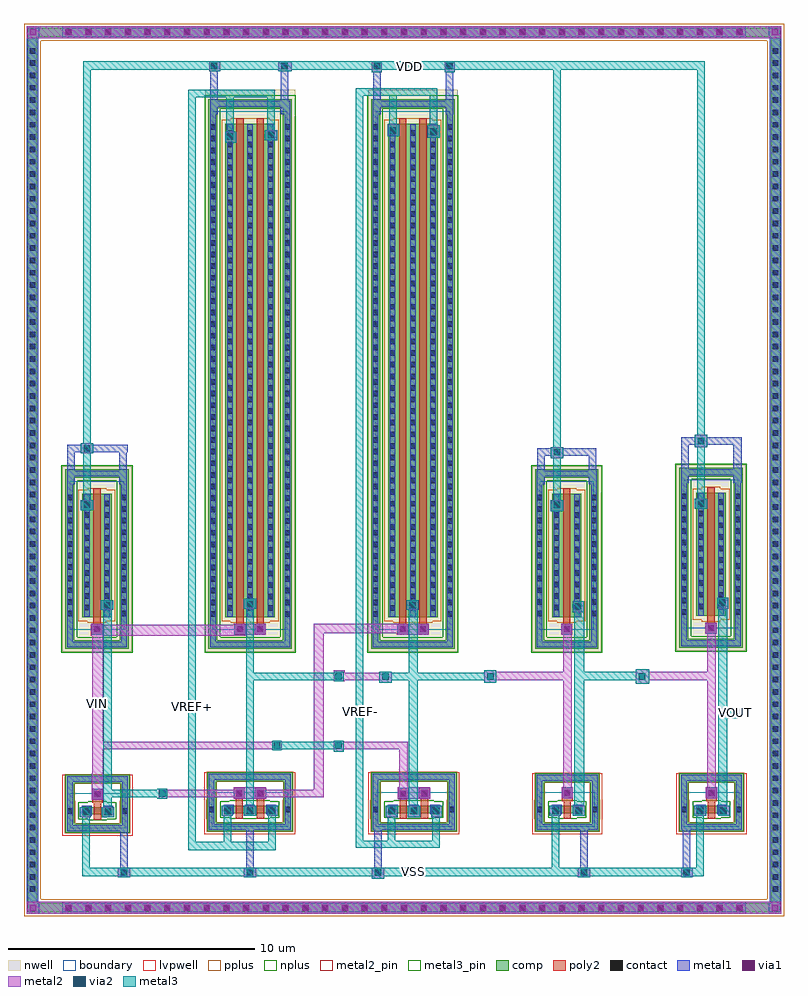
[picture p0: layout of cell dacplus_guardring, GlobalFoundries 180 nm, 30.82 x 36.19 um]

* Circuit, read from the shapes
.subckt dacplus_guardring VDD VIN VOUT VREF+ VREF- VSS
XM1 n1 VIN VSS VSS nfet_03v3 w=0.3u l=0.3u
XM2 n2 n1 VREF+ VSS nfet_03v3 w=0.3u l=0.3u m=2
XM3 n2 VIN VREF- VSS nfet_03v3 w=0.3u l=0.3u m=2
XM4 n3 n2 VSS VSS nfet_03v3 w=0.3u l=0.3u
XM5 VOUT n3 VSS VSS nfet_03v3 w=0.3u l=0.3u
XM6 n1 VIN VDD VDD pfet_03v3 w=5u l=0.3u
XM7 n2 VIN VREF+ VDD pfet_03v3 w=20u l=0.3u m=2
XM8 n2 n1 VREF- VDD pfet_03v3 w=20u l=0.3u m=2
XM9 n3 n2 VDD VDD pfet_03v3 w=5u l=0.3u
XM10 VOUT n3 VDD VDD pfet_03v3 w=5u l=0.3u
.ends

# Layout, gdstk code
import gdstk
lib = gdstk.Library(unit=1e-6, precision=5e-09)
def R(c, l, rs):  # rectangles x0, y0, x1, y1
    for r in rs: c.add(gdstk.rectangle(r[:2], r[2:], *l))
def A(c, l, x, y, w, h, nx, ny, dx, dy):  # array of equal rectangles
    R(c, l, [(x+i*dx, y+j*dy, x+i*dx+w, y+j*dy+h) for i in range(nx) for j in range(ny)])
def P(c, l, *ps):  # polygons
    for p in ps: c.add(gdstk.Polygon(p, *l))
boundary = (0, 0)
nwell = (21, 0)
comp = (22, 0)
poly2 = (30, 0)
pplus = (31, 0)
nplus = (32, 0)
contact = (33, 0)
metal1 = (34, 0)
via1 = (35, 0)
metal2 = (36, 0)
metal2_pin = (36, 10)
via2 = (38, 0)
metal3 = (42, 0)
metal3_pin = (42, 10)
lvpwell = (204, 0)

dacplus_guardring = lib.new_cell('dacplus_guardring')
R(dacplus_guardring, boundary, [(10.35,24.5,12.59,25.91), (16.1,24.55,19.2,25.96), (22.75,24.55,25.85,25.96), (29.4,24.55,31.64,25.96), (35.25,24.55,37.49,25.96), (10.35,32.55,12.55,38.57), (16.15,32.55,19.17,53.57), (22.75,32.55,25.77,53.57), (29.4,32.55,31.6,38.57), (35.25,32.6,37.45,38.62)])
R(dacplus_guardring, nwell, [(10.05,31.65,12.85,38.125), (15.85,31.65,19.47,53.37), (22.45,31.65,26.07,53.37), (29.1,31.65,31.9,38.125), (34.95,31.7,37.75,38.175), (10.045,38.125,12.86,39.165), (29.095,38.125,31.91,39.165), (34.945,38.175,37.76,39.215), (10.05,39.165,12.85,39.185), (29.1,39.165,31.9,39.185), (34.95,39.215,37.75,39.235), (15.85,53.37,19.48,54.44), (22.45,53.37,26.08,54.44)])
A(dacplus_guardring, comp, 10.12, 21.09, 0.36, 0.36, 35, 2, 0.8, 35.51)
A(dacplus_guardring, comp, 8.65, 21.845, 0.36, 0.36, 1, 69, 0, 0.5)
A(dacplus_guardring, comp, 38.79, 21.845, 0.36, 0.36, 1, 69, 0, 0.5)
A(dacplus_guardring, comp, 16.61, 25.075, 0.36, 0.03, 3, 2, 0.86, 0.33)
A(dacplus_guardring, comp, 23.26, 25.075, 0.36, 0.03, 3, 2, 0.86, 0.33)
R(dacplus_guardring, comp, [(10.12,21.09,37.68,21.45), (8.65,21.845,9.01,56.205), (38.79,21.845,39.15,56.205), (10.17,24.32,12.77,24.68), (15.92,24.37,19.38,24.73), (22.57,24.37,26.03,24.73), (29.22,24.37,31.82,24.73), (35.07,24.37,37.67,24.73), (10.17,24.68,10.53,26.315), (12.41,24.68,12.77,26.315), (15.92,24.73,16.28,26.405), (19.02,24.73,19.38,26.405), (22.57,24.73,22.93,26.405), (25.67,24.73,26.03,26.405), (29.22,24.73,29.58,26.365), (31.46,24.73,31.82,26.365), (35.07,24.73,35.43,26.365), (37.31,24.73,37.67,26.365), (10.86,25.025,11.22,25.055), (11.72,25.025,12.08,25.055), (10.86,25.055,12.08,25.355), (29.91,25.075,30.27,25.105), (30.77,25.075,31.13,25.105), (35.76,25.075,36.12,25.105), (36.62,25.075,36.98,25.105), (16.61,25.105,18.69,25.405), (23.26,25.105,25.34,25.405), (29.91,25.105,31.13,25.405), (35.76,25.105,36.98,25.405), (10.86,25.355,11.22,25.385), (11.72,25.355,12.08,25.385), (29.91,25.405,30.27,25.435), (30.77,25.405,31.13,25.435), (35.76,25.405,36.12,25.435), (36.62,25.405,36.98,25.435), (10.17,26.315,12.77,26.675), (29.22,26.365,31.82,26.725), (35.07,26.365,37.67,26.725), (15.92,26.405,19.38,26.765), (22.57,26.405,26.03,26.765), (10.17,31.77,12.73,32.13), (15.97,31.77,19.35,32.13), (22.57,31.77,25.95,32.13), (29.22,31.77,31.78,32.13), (35.07,31.82,37.63,32.18), (10.17,32.13,10.53,38.705), (12.37,32.13,12.73,38.705), (15.97,32.13,16.33,53.7), (18.99,32.13,19.35,53.7), (22.57,32.13,22.93,53.7), (25.59,32.13,25.95,53.7), (29.22,32.13,29.58,38.705), (31.42,32.13,31.78,38.705), (35.07,32.18,35.43,38.755), (37.27,32.18,37.63,38.755), (10.86,33.06,12.04,38.06), (16.66,33.06,18.66,53.06), (23.26,33.06,25.26,53.06), (29.91,33.06,31.09,38.06), (35.76,33.11,36.94,38.11), (10.17,38.705,12.73,39.065), (29.22,38.705,31.78,39.065), (35.07,38.755,37.63,39.115), (15.97,53.7,19.35,54.06), (22.57,53.7,25.95,54.06), (10.12,56.6,37.68,56.96)])
P(dacplus_guardring, comp, [(8.65,21.09),(8.65,21.45),(9.01,21.45),(38.79,21.45),(38.79,56.6),(9.01,56.6),(9.01,21.45),(8.65,21.45),(8.65,56.96),(39.15,56.96),(39.15,21.09)])
R(dacplus_guardring, poly2, [(11.32,24.835,11.62,25.54), (17.07,24.885,17.37,25.685), (17.93,24.885,18.23,25.685), (23.72,24.885,24.02,25.685), (24.58,24.885,24.88,25.685), (30.37,24.885,30.67,25.59), (36.22,24.885,36.52,25.59), (11.255,25.54,11.685,26.095), (30.305,25.59,30.735,26.145), (36.155,25.59,36.585,26.145), (16.995,25.685,17.445,26.135), (17.855,25.685,18.305,26.135), (23.645,25.685,24.095,26.135), (24.505,25.685,24.955,26.135), (11.225,32.34,11.675,32.79), (30.275,32.34,30.725,32.79), (17.025,32.345,17.475,32.795), (17.84,32.345,18.29,32.795), (23.625,32.345,24.075,32.795), (24.44,32.345,24.89,32.795), (36.125,32.39,36.575,32.84), (11.3,32.79,11.6,38.28), (30.35,32.79,30.65,38.28), (17.1,32.795,17.4,53.28), (17.92,32.795,18.22,53.28), (23.7,32.795,24,53.28), (24.52,32.795,24.82,53.28), (36.2,32.84,36.5,38.33)])
R(dacplus_guardring, pplus, [(10.15,24.3,12.79,24.7), (15.9,24.35,19.4,24.75), (22.55,24.35,26.05,24.75), (29.2,24.35,31.84,24.75), (35.05,24.35,37.69,24.75), (10.15,24.7,10.56,24.805), (12.38,24.7,12.79,24.805), (15.9,24.75,16.31,24.855), (18.99,24.75,19.4,24.855), (22.55,24.75,22.96,24.855), (25.64,24.75,26.05,24.855), (29.2,24.75,29.61,24.855), (31.43,24.75,31.84,24.855), (35.05,24.75,35.46,24.855), (37.28,24.75,37.69,24.855), (10.14,24.805,10.56,25.605), (12.38,24.805,12.8,25.605), (15.89,24.855,16.31,25.655), (18.99,24.855,19.41,25.655), (22.54,24.855,22.96,25.655), (25.64,24.855,26.06,25.655), (29.19,24.855,29.61,25.655), (31.43,24.855,31.85,25.655), (35.04,24.855,35.46,25.655), (37.28,24.855,37.7,25.655), (10.15,25.605,10.55,26.295), (12.39,25.605,12.79,26.295), (15.9,25.655,16.3,26.385), (19,25.655,19.4,26.385), (22.55,25.655,22.95,26.385), (25.65,25.655,26.05,26.385), (29.2,25.655,29.6,26.345), (31.44,25.655,31.84,26.345), (35.05,25.655,35.45,26.345), (37.29,25.655,37.69,26.345), (10.15,26.295,12.79,26.695), (29.2,26.345,31.84,26.745), (35.05,26.345,37.69,26.745), (15.9,26.385,19.4,26.785), (22.55,26.385,26.05,26.785), (11.07,32.83,11.83,32.9), (16.87,32.83,18.45,32.9), (23.47,32.83,25.05,32.9), (30.12,32.83,30.88,32.9), (35.97,32.88,36.73,32.95), (10.7,32.9,12.2,38.22), (16.5,32.9,18.82,53.22), (23.1,32.9,25.42,53.22), (29.75,32.9,31.25,38.22), (35.6,32.95,37.1,38.27), (11.07,38.22,11.83,38.29), (30.12,38.22,30.88,38.29), (35.97,38.27,36.73,38.34), (16.87,53.22,18.45,53.29), (23.47,53.22,25.05,53.29)])
P(dacplus_guardring, pplus, [(8.49,20.93),(8.49,21.61),(9.17,21.61),(38.63,21.61),(38.63,56.44),(9.17,56.44),(9.17,21.61),(8.49,21.61),(8.49,57.12),(39.31,57.12),(39.31,20.93)])
R(dacplus_guardring, nplus, [(11.09,24.825,11.85,24.865), (10.7,24.865,12.24,25.545), (16.84,24.875,18.46,24.915), (23.49,24.875,25.11,24.915), (30.14,24.875,30.9,24.915), (35.99,24.875,36.75,24.915), (16.45,24.915,18.85,25.595), (23.1,24.915,25.5,25.595), (29.75,24.915,31.29,25.595), (35.6,24.915,37.14,25.595), (11.09,25.545,11.85,25.585), (16.84,25.595,18.46,25.635), (23.49,25.595,25.11,25.635), (30.14,25.595,30.9,25.635), (35.99,25.595,36.75,25.635), (10.01,31.61,12.89,32.24), (15.81,31.61,19.51,32.24), (22.41,31.61,26.11,32.24), (29.06,31.61,31.94,32.24), (34.91,31.66,37.79,32.29), (10.01,32.24,10.64,38.595), (12.26,32.24,12.89,38.595), (15.81,32.24,16.44,53.68), (18.88,32.24,19.51,53.68), (22.41,32.24,23.04,53.68), (25.48,32.24,26.11,53.68), (29.06,32.24,29.69,38.595), (31.31,32.24,31.94,38.595), (34.91,32.29,35.54,38.645), (37.16,32.29,37.79,38.645), (10.01,38.595,12.89,39.225), (29.06,38.595,31.94,39.225), (34.91,38.645,37.79,39.275), (15.81,53.68,19.51,54.22), (22.41,53.68,26.11,54.22)])
A(dacplus_guardring, contact, 10.19, 21.16, 0.22, 0.22, 35, 2, 0.8, 35.51)
A(dacplus_guardring, contact, 8.72, 21.915, 0.22, 0.22, 1, 69, 0, 0.5)
A(dacplus_guardring, contact, 38.86, 21.915, 0.22, 0.22, 1, 69, 0, 0.5)
A(dacplus_guardring, contact, 16.68, 25.145, 0.22, 0.22, 3, 1, 0.86, 0)
A(dacplus_guardring, contact, 23.33, 25.145, 0.22, 0.22, 3, 1, 0.86, 0)
A(dacplus_guardring, contact, 16.04, 33.08, 0.22, 0.22, 1, 43, 0, 0.47)
A(dacplus_guardring, contact, 19.06, 33.08, 0.22, 0.22, 1, 43, 0, 0.47)
A(dacplus_guardring, contact, 22.64, 33.08, 0.22, 0.22, 1, 43, 0, 0.47)
A(dacplus_guardring, contact, 25.66, 33.08, 0.22, 0.22, 1, 43, 0, 0.47)
A(dacplus_guardring, contact, 10.24, 33.1, 0.22, 0.22, 1, 11, 0, 0.47)
A(dacplus_guardring, contact, 12.44, 33.1, 0.22, 0.22, 1, 11, 0, 0.47)
A(dacplus_guardring, contact, 29.29, 33.1, 0.22, 0.22, 1, 11, 0, 0.47)
A(dacplus_guardring, contact, 31.49, 33.1, 0.22, 0.22, 1, 11, 0, 0.47)
A(dacplus_guardring, contact, 35.14, 33.15, 0.22, 0.22, 1, 11, 0, 0.47)
A(dacplus_guardring, contact, 37.34, 33.15, 0.22, 0.22, 1, 11, 0, 0.47)
A(dacplus_guardring, contact, 16.73, 33.315, 0.22, 0.22, 3, 42, 0.82, 0.47)
A(dacplus_guardring, contact, 23.33, 33.315, 0.22, 0.22, 3, 42, 0.82, 0.47)
A(dacplus_guardring, contact, 10.93, 33.335, 0.22, 0.22, 1, 10, 0, 0.47)
A(dacplus_guardring, contact, 11.75, 33.335, 0.22, 0.22, 1, 10, 0, 0.47)
A(dacplus_guardring, contact, 29.98, 33.335, 0.22, 0.22, 1, 10, 0, 0.47)
A(dacplus_guardring, contact, 30.8, 33.335, 0.22, 0.22, 1, 10, 0, 0.47)
A(dacplus_guardring, contact, 35.83, 33.385, 0.22, 0.22, 1, 10, 0, 0.47)
A(dacplus_guardring, contact, 36.65, 33.385, 0.22, 0.22, 1, 10, 0, 0.47)
R(dacplus_guardring, contact, [(10.24,25.095,10.46,25.315), (10.93,25.095,11.15,25.315), (11.79,25.095,12.01,25.315), (12.48,25.095,12.7,25.315), (15.99,25.145,16.21,25.365), (19.09,25.145,19.31,25.365), (22.64,25.145,22.86,25.365), (25.74,25.145,25.96,25.365), (29.29,25.145,29.51,25.365), (29.98,25.145,30.2,25.365), (30.84,25.145,31.06,25.365), (31.53,25.145,31.75,25.365), (35.14,25.145,35.36,25.365), (35.83,25.145,36.05,25.365), (36.69,25.145,36.91,25.365), (37.38,25.145,37.6,25.365), (11.36,25.765,11.58,25.985), (17.11,25.79,17.33,26.01), (17.97,25.79,18.19,26.01), (23.76,25.79,23.98,26.01), (24.62,25.79,24.84,26.01), (30.41,25.815,30.63,26.035), (36.26,25.815,36.48,26.035), (11.34,32.465,11.56,32.685), (17.14,32.465,17.36,32.685), (17.955,32.465,18.175,32.685), (23.74,32.465,23.96,32.685), (24.555,32.465,24.775,32.685), (30.39,32.465,30.61,32.685), (36.24,32.515,36.46,32.735)])
A(dacplus_guardring, metal1, 10.05, 21.02, 0.5, 0.5, 35, 2, 0.8, 35.51)
A(dacplus_guardring, metal1, 8.6, 21.795, 0.46, 0.46, 1, 69, 0, 0.5)
A(dacplus_guardring, metal1, 38.74, 21.795, 0.46, 0.46, 1, 69, 0, 0.5)
A(dacplus_guardring, metal1, 16.59, 25.055, 0.4, 0.4, 3, 1, 0.86, 0)
A(dacplus_guardring, metal1, 23.24, 25.055, 0.4, 0.4, 3, 1, 0.86, 0)
A(dacplus_guardring, metal1, 16.725, 33.07, 0.23, 19.98, 3, 1, 0.82, 0)
A(dacplus_guardring, metal1, 23.325, 33.07, 0.23, 19.98, 3, 1, 0.82, 0)
R(dacplus_guardring, metal1, [(8.6,21.02,9.1,21.52), (8.6,21.02,9.1,21.52), (8.6,21.02,9.06,21.45), (10.05,21.02,37.75,21.52), (38.7,21.02,39.2,21.52), (38.7,21.02,39.2,21.52), (38.74,21.02,39.2,21.45), (8.6,21.45,9.06,56.6), (38.74,21.45,39.2,56.6), (22.6,22.45,23.1,22.9), (12.3,22.5,12.8,22.9), (17.4,22.5,17.9,22.9), (30.95,22.5,31.45,22.9), (35.15,22.5,35.6,22.9), (12.4,22.9,12.7,24.5), (17.5,22.9,17.8,24.6), (22.7,22.9,23,24.6), (31.05,22.9,31.35,24.65), (35.2,22.9,35.5,24.55), (10.235,24.385,12.705,24.615), (15.985,24.435,19.315,24.665), (22.635,24.435,25.965,24.665), (29.285,24.435,31.755,24.665), (35.135,24.435,37.605,24.665), (10.235,24.615,10.465,26.38), (12.475,24.615,12.705,26.38), (15.985,24.665,16.215,26.47), (19.085,24.665,19.315,26.47), (22.635,24.665,22.865,26.47), (25.735,24.665,25.965,26.47), (29.285,24.665,29.515,26.43), (31.525,24.665,31.755,26.43), (35.135,24.665,35.365,26.43), (37.375,24.665,37.605,26.43), (10.75,24.95,11.2,25.35), (11.65,24.95,12.15,25.35), (23.15,24.95,23.65,25.4), (24.05,24.95,24.55,25.4), (25,24.95,25.45,25.4), (16.5,25,16.95,25.4), (17.4,25,17.9,25.4), (18.35,25,18.8,25.4), (29.8,25,30.25,25.4), (30.75,25,31.25,25.4), (35.65,25,36.15,25.4), (36.65,25,37.1,25.4), (10.84,25.005,11.24,25.405), (11.7,25.005,12.1,25.405), (29.89,25.055,30.29,25.455), (30.75,25.055,31.15,25.455), (35.74,25.055,36.14,25.455), (36.6,25.055,37,25.455), (11.245,25.655,11.695,26.105), (16.995,25.685,17.445,26.135), (17.855,25.685,18.305,26.135), (23.645,25.685,24.095,26.135), (24.505,25.685,24.955,26.135), (30.295,25.705,30.745,26.155), (36.145,25.705,36.595,26.155), (11.27,25.725,11.67,26.025), (23.67,25.745,24.07,26.05), (17.02,25.75,17.42,26.05), (17.88,25.75,18.28,26.05), (24.53,25.75,24.93,26.055), (36.17,25.77,36.57,26.075), (30.32,25.775,30.72,26.075), (10.235,26.38,12.705,26.61), (29.285,26.43,31.755,26.66), (35.135,26.43,37.605,26.66), (15.985,26.47,19.315,26.7), (22.635,26.47,25.965,26.7), (10.235,31.835,12.665,32.065), (16.035,31.835,19.285,32.065), (22.635,31.835,25.885,32.065), (29.285,31.835,31.715,32.065), (35.135,31.885,37.565,32.115), (10.235,32.065,10.465,38.77), (12.435,32.065,12.665,38.77), (16.035,32.065,16.265,53.765), (19.055,32.065,19.285,53.765), (22.635,32.065,22.865,53.765), (25.655,32.065,25.885,53.765), (29.285,32.065,29.515,38.77), (31.485,32.065,31.715,38.77), (35.135,32.115,35.365,38.82), (37.335,32.115,37.565,38.82), (11.225,32.34,11.675,32.79), (30.275,32.34,30.725,32.79), (17.025,32.345,17.475,32.795), (17.84,32.345,18.29,32.795), (23.625,32.345,24.075,32.795), (24.44,32.345,24.89,32.795), (36.125,32.39,36.575,32.84), (11.25,32.425,11.65,32.725), (17.05,32.425,17.45,32.725), (17.865,32.425,18.265,32.725), (23.65,32.425,24.05,32.725), (24.465,32.425,24.865,32.725), (30.3,32.425,30.7,32.725), (36.15,32.475,36.55,32.775), (10.925,33.07,11.155,38.05), (11.745,33.07,11.975,38.05), (29.975,33.07,30.205,38.05), (30.795,33.07,31.025,38.05), (35.825,33.12,36.055,38.1), (36.645,33.12,36.875,38.1), (30.75,33.25,31.2,33.7), (11.6,33.35,12.1,33.75), (24,33.35,24.5,33.75), (17.4,33.4,17.9,33.8), (36.6,33.4,37.05,33.85), (29.85,37.35,30.35,37.8), (10.8,37.4,11.3,37.8), (35.7,37.45,36.2,37.85), (10.25,38.45,10.55,39.75), (12.35,38.45,12.65,39.75), (29.3,38.45,29.6,39.6), (31.4,38.45,31.7,39.6), (35.15,38.5,35.45,40.05), (37.25,38.5,37.6,40.05), (10.235,38.77,12.665,39), (29.285,38.77,31.715,39), (35.135,38.82,37.565,39.05), (29.85,39.5,30.35,39.6), (29.3,39.6,31.7,39.9), (10.8,39.7,11.3,39.75), (10.25,39.75,12.7,40.05), (29.85,39.9,30.35,39.95), (35.7,39.95,36.2,40.05), (10.8,40.05,11.3,40.1), (35.15,40.05,37.6,40.35), (35.7,40.35,36.2,40.45), (16.65,52.3,17.1,52.75), (18.25,52.4,18.75,52.8), (24.85,52.5,25.35,53), (23.25,52.55,23.7,53.05), (16.05,53.45,16.35,55.2), (18.9,53.45,19.2,55.2), (22.65,53.45,22.95,55.15), (25.6,53.45,25.9,55.15), (16.035,53.765,19.285,53.995), (22.635,53.765,25.885,53.995), (22.6,55.15,23,55.6), (25.55,55.15,25.95,55.6), (16,55.2,16.45,55.6), (18.8,55.2,19.35,55.6), (8.6,56.53,9.1,57.03), (8.6,56.53,9.1,57.03), (10.05,56.53,37.75,57.03), (38.7,56.53,39.2,57.03), (38.7,56.53,39.2,57.03), (8.6,56.6,9.06,57.03), (38.74,56.6,39.2,57.03)])
A(dacplus_guardring, via1, 10.17, 21.14, 0.26, 0.26, 35, 2, 0.8, 35.51)
A(dacplus_guardring, via1, 16.62, 25.07, 0.26, 0.26, 3, 1, 0.9, 0)
A(dacplus_guardring, via1, 23.27, 25.07, 0.26, 0.26, 3, 1, 0.9, 0)
R(dacplus_guardring, via1, [(8.72,21.14,8.98,21.4), (38.82,21.14,39.08,21.4), (12.42,22.57,12.68,22.83), (17.52,22.57,17.78,22.83), (22.72,22.57,22.98,22.83), (31.07,22.57,31.33,22.83), (35.22,22.57,35.48,22.83), (10.87,25.02,11.13,25.28), (11.77,25.02,12.03,25.28), (29.92,25.07,30.18,25.33), (30.87,25.07,31.13,25.33), (35.77,25.07,36.03,25.33), (36.72,25.07,36.98,25.33), (11.34,25.745,11.6,26.005), (23.74,25.765,24,26.025), (17.09,25.77,17.35,26.03), (17.95,25.77,18.21,26.03), (24.6,25.77,24.86,26.03), (36.24,25.79,36.5,26.05), (30.39,25.795,30.65,26.055), (11.32,32.445,11.58,32.705), (17.12,32.445,17.38,32.705), (17.935,32.445,18.195,32.705), (23.72,32.445,23.98,32.705), (24.535,32.445,24.795,32.705), (30.37,32.445,30.63,32.705), (36.22,32.495,36.48,32.755), (30.82,33.37,31.08,33.63), (11.72,33.42,11.98,33.68), (24.12,33.42,24.38,33.68), (17.52,33.47,17.78,33.73), (36.67,33.52,36.93,33.78), (10.92,37.47,11.18,37.73), (29.97,37.47,30.23,37.73), (35.82,37.52,36.08,37.78), (29.97,39.62,30.23,39.88), (10.92,39.77,11.18,40.03), (35.82,40.07,36.08,40.33), (16.72,52.42,16.98,52.68), (18.37,52.47,18.63,52.73), (24.97,52.62,25.23,52.88), (23.32,52.67,23.58,52.93), (16.07,55.27,16.33,55.53), (18.92,55.27,19.18,55.53), (22.67,55.27,22.93,55.53), (25.62,55.27,25.88,55.53), (8.72,56.65,8.98,56.91), (38.82,56.65,39.08,56.91)])
A(dacplus_guardring, metal2, 10.05, 21.02, 0.5, 0.5, 35, 2, 0.8, 35.51)
R(dacplus_guardring, metal2, [(8.6,21.02,9.1,21.52), (8.6,21.02,9.1,21.52), (8.6,21.02,9.01,21.52), (9.01,21.02,38.79,21.52), (38.7,21.02,39.2,21.52), (38.7,21.02,39.2,21.52), (38.79,21.02,39.2,21.52), (22.6,22.45,23.1,22.9), (12.3,22.5,12.8,22.9), (17.4,22.5,17.9,22.9), (30.95,22.5,31.45,22.9), (35.15,22.5,35.6,22.9), (10.75,24.95,11.2,25.35), (11.65,24.95,12.15,25.35), (23.15,24.95,23.65,25.4), (24.05,24.95,24.55,25.4), (25,24.95,25.45,25.4), (16.5,25,16.95,25.4), (17.4,25,17.9,25.4), (18.35,25,18.8,25.4), (29.8,25,30.25,25.4), (30.75,25,31.25,25.4), (35.65,25,36.15,25.4), (36.65,25,37.1,25.4), (11.245,25.655,11.695,26.65), (23.645,25.68,24.1,25.7), (16.995,25.685,17.445,25.7), (17.855,25.685,18.305,25.7), (24.505,25.685,24.96,25.7), (13.95,25.7,14.25,25.75), (16.995,25.7,18.305,25.75), (23.645,25.7,24.96,26.135), (30.295,25.705,30.745,26.155), (36.145,25.705,36.595,26.155), (13.95,25.75,20.65,26.05), (13.95,26.05,14.25,26.1), (16.995,26.05,18.305,26.135), (20.25,26.05,20.65,32.4), (17,26.135,18.3,26.15), (23.65,26.135,24.96,26.14), (23.65,26.14,24.95,26.15), (23.7,26.15,24.05,27.7), (30.35,26.155,30.7,30.5), (36.2,26.155,36.55,30.5), (11.245,26.65,11.7,26.71), (11.25,26.71,11.7,27.7), (21.05,27.6,21.45,27.7), (18.55,27.65,18.95,27.7), (11.25,27.7,18.95,28), (21.05,27.7,24.05,28), (11.25,28,11.7,32.3), (18.55,28,18.95,28.05), (21.05,28,21.45,28.05), (33.3,30.35,33.85,30.5), (22.9,30.4,23.4,30.5), (27.15,30.4,27.65,30.5), (21.05,30.45,21.5,30.5), (21.05,30.5,23.4,30.8), (27.15,30.5,30.7,30.85), (33.3,30.5,36.55,30.85), (21.05,30.8,21.5,30.9), (22.9,30.8,23.4,30.85), (27.15,30.85,27.65,30.9), (30.35,30.85,30.7,32.34), (33.3,30.85,33.85,30.95), (36.2,30.85,36.55,32.39), (11.2,32.3,17.5,32.35), (30.275,32.34,30.725,32.79), (17.84,32.345,18.29,32.35), (23.625,32.345,24.075,32.35), (24.44,32.345,24.89,32.35), (11.2,32.35,18.3,32.75), (23.6,32.35,24.9,32.4), (36.125,32.39,36.575,32.84), (20.25,32.4,24.9,32.8), (11.225,32.75,11.7,32.79), (17,32.75,18.3,32.8), (11.25,32.79,11.7,32.8), (30.75,33.25,31.2,33.7), (11.6,33.35,12.1,33.75), (24,33.35,24.5,33.75), (17.4,33.4,17.9,33.8), (36.6,33.4,37.05,33.85), (29.85,37.35,30.35,37.8), (10.8,37.4,11.3,37.8), (35.7,37.45,36.2,37.85), (29.85,39.5,30.35,39.95), (10.8,39.7,11.3,40.1), (35.7,39.95,36.2,40.45), (16.65,52.3,17.1,52.75), (18.25,52.4,18.75,52.8), (24.85,52.5,25.35,53), (23.25,52.55,23.7,53.05), (22.6,55.15,23,55.6), (25.55,55.15,25.95,55.6), (16,55.2,16.45,55.6), (18.8,55.2,19.35,55.6), (8.6,56.53,9.1,57.03), (8.6,56.53,9.1,57.03), (8.6,56.53,9.01,57.03), (9.01,56.53,38.79,57.03), (38.7,56.53,39.2,57.03), (38.7,56.53,39.2,57.03), (38.79,56.53,39.2,57.03)])
R(dacplus_guardring, metal2_pin, [(11.4,29.5,11.55,29.65)])
A(dacplus_guardring, via2, 16.62, 25.07, 0.26, 0.26, 3, 1, 0.9, 0)
A(dacplus_guardring, via2, 23.27, 25.07, 0.26, 0.26, 3, 1, 0.9, 0)
R(dacplus_guardring, via2, [(12.42,22.57,12.68,22.83), (17.52,22.57,17.78,22.83), (22.72,22.57,22.98,22.83), (31.07,22.57,31.33,22.83), (35.22,22.57,35.48,22.83), (10.87,25.02,11.13,25.28), (11.77,25.02,12.03,25.28), (29.92,25.07,30.18,25.33), (30.87,25.07,31.13,25.33), (35.77,25.07,36.03,25.33), (36.72,25.07,36.98,25.33), (13.97,25.77,14.23,26.03), (18.62,27.72,18.88,27.98), (21.12,27.72,21.38,27.98), (21.12,30.52,21.38,30.78), (23.02,30.52,23.28,30.78), (27.27,30.52,27.53,30.78), (33.42,30.52,33.68,30.78), (30.82,33.37,31.08,33.63), (11.72,33.42,11.98,33.68), (24.12,33.42,24.38,33.68), (17.52,33.47,17.78,33.73), (36.67,33.52,36.93,33.78), (10.92,37.47,11.18,37.73), (29.97,37.47,30.23,37.73), (35.82,37.52,36.08,37.78), (29.97,39.62,30.23,39.88), (10.92,39.77,11.18,40.03), (35.82,40.07,36.08,40.33), (16.72,52.42,16.98,52.68), (18.37,52.47,18.63,52.73), (24.97,52.62,25.23,52.88), (23.32,52.67,23.58,52.93), (16.07,55.27,16.33,55.53), (18.92,55.27,19.18,55.53), (22.67,55.27,22.93,55.53), (25.62,55.27,25.88,55.53)])
R(dacplus_guardring, metal3, [(22.6,22.45,23.1,22.55), (12.3,22.5,12.8,22.55), (17.4,22.5,17.9,22.55), (30.95,22.5,31.45,22.55), (35.15,22.5,35.6,22.55), (10.85,22.55,36.05,22.9), (10.85,22.9,11.15,24.95), (29.9,22.9,30.2,25), (35.75,22.9,36.05,25), (15.15,23.6,18.7,23.95), (21.95,23.7,25.35,24), (15.15,23.95,15.45,54.15), (16.6,23.95,16.9,25), (18.4,23.95,18.7,25), (21.95,24,22.25,54.2), (23.25,24,23.55,24.95), (25.05,24,25.35,24.95), (10.75,24.95,11.2,25.35), (11.65,24.95,12.15,25.35), (23.15,24.95,23.65,25.4), (24.05,24.95,24.55,25.4), (25,24.95,25.45,25.4), (16.5,25,16.95,25.4), (17.4,25,17.9,25.4), (18.35,25,18.8,25.4), (29.8,25,30.25,25.4), (30.75,25,31.25,25.4), (35.65,25,36.15,25.4), (36.65,25,37.1,25.4), (11.7,25.35,12.05,25.75), (17.5,25.4,17.8,30.5), (24.1,25.4,24.45,30.5), (30.8,25.4,31.2,30.5), (36.65,25.4,37,28.95), (13.9,25.7,14.3,25.75), (11.7,25.75,14.3,26.05), (11.7,26.05,12.05,33.35), (13.9,26.05,14.3,26.1), (21.05,27.6,21.45,27.7), (18.55,27.65,18.95,27.7), (18.55,27.7,21.45,28), (18.55,28,18.95,28.05), (21.05,28,21.45,28.05), (36.65,28.95,37.5,29.35), (36.65,29.35,37,33.4), (33.3,30.35,33.85,30.5), (22.9,30.4,23.4,30.5), (27.15,30.4,27.65,30.5), (21.1,30.45,21.45,30.5), (17.5,30.5,21.45,30.8), (22.9,30.5,27.65,30.8), (30.8,30.5,33.85,30.85), (17.5,30.8,17.8,33.4), (21.1,30.8,21.45,30.85), (22.9,30.8,23.4,30.85), (24.1,30.8,24.45,33.35), (27.15,30.8,27.65,30.9), (30.8,30.85,31.2,33.25), (33.3,30.85,33.85,30.95), (30.75,33.25,31.2,33.7), (11.6,33.35,12.1,33.75), (24,33.35,24.5,33.75), (17.4,33.4,17.9,33.8), (36.6,33.4,37.05,33.85), (29.85,37.35,30.35,37.8), (10.8,37.4,11.3,37.8), (35.7,37.45,36.2,37.85), (10.9,37.8,11.2,39.7), (29.95,37.8,30.25,39.5), (35.8,37.85,36.1,39.95), (29.85,39.5,30.35,39.95), (10.8,39.7,11.3,40.1), (29.95,39.95,30.25,55.25), (35.7,39.95,36.2,40.45), (10.9,40.1,11.2,55.25), (35.8,40.45,36.1,55.25), (16.65,52.3,17.1,52.75), (18.25,52.4,18.75,52.8), (24.85,52.5,25.35,53), (23.25,52.55,23.7,53.05), (16.7,52.75,17,54.15), (18.35,52.8,18.65,54.15), (24.95,53,25.25,54.2), (23.3,53.05,23.6,54.2), (15.15,54.15,18.65,54.45), (21.95,54.2,25.25,54.5), (22.6,55.15,23,55.25), (25.55,55.15,25.95,55.25), (16,55.2,16.45,55.25), (18.8,55.2,19.35,55.25), (10.9,55.25,36.1,55.6)])
R(dacplus_guardring, metal3_pin, [(24.2,22.65,24.35,22.8), (37.25,29.1,37.4,29.25), (22.05,29.15,22.2,29.3), (15.25,29.35,15.4,29.5), (24.05,55.35,24.2,55.45)])
R(dacplus_guardring, lvpwell, [(10.05,24.2,12.89,25.55), (15.8,24.25,19.5,26.765), (22.45,24.25,26.15,26.765), (29.1,24.25,31.94,25.6), (34.95,24.25,37.79,25.6), (10.05,25.55,11.245,25.655), (11.255,25.55,11.685,25.655), (11.695,25.55,12.89,25.655), (29.1,25.6,30.295,25.705), (30.305,25.6,30.735,25.705), (30.745,25.6,31.94,25.705), (34.95,25.6,36.145,25.705), (36.155,25.6,36.585,25.705), (36.595,25.6,37.79,25.705), (10.05,25.655,12.89,26.675), (29.1,25.705,31.94,26.725), (34.95,25.705,37.79,26.725)])
dacplus_guardring.add(gdstk.Label('VDD', (24.125,55.4), layer=42, texttype=10))
dacplus_guardring.add(gdstk.Label('VREF+', (15.325,29.425), layer=42, texttype=10))
dacplus_guardring.add(gdstk.Label('VOUT', (37.325,29.175), layer=42, texttype=10))
dacplus_guardring.add(gdstk.Label('VREF-', (22.125,29.225), layer=42, texttype=10))
dacplus_guardring.add(gdstk.Label('VSS', (24.275,22.725), layer=42, texttype=10))
dacplus_guardring.add(gdstk.Label('VIN', (11.475,29.575), layer=36, texttype=10))

lib.write_gds('dacplus_guardring.gds')
